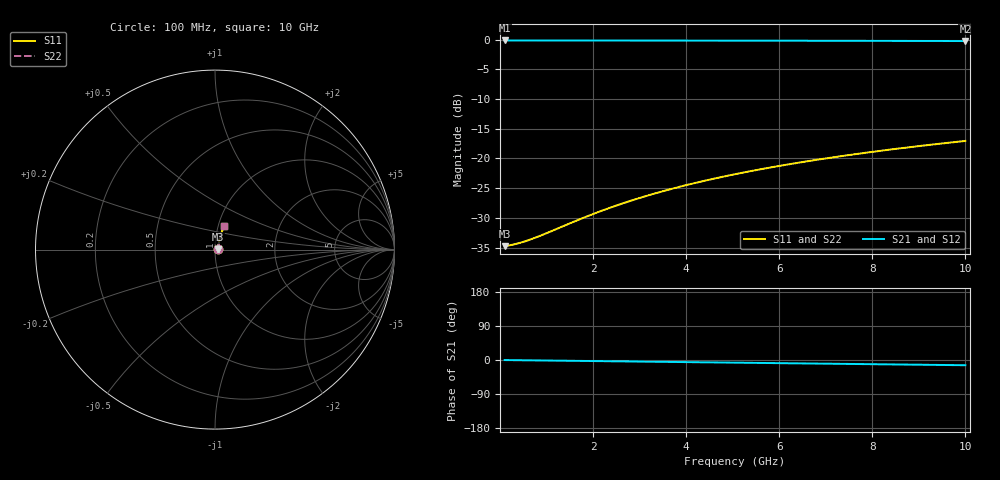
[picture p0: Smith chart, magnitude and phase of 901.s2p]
# Hz S RI R 50.00
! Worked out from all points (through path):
!   100 points, 100 MHz to 10 GHz, reference 50 ohm
!   highest |S21| = -0.16 dB at 100 MHz (marker M1); lowest = -0.3 dB at 10 GHz (marker M2)
!   group delay of S21, straight-line fit = 3.84 ps
!   lowest |S11| = -34.8 dB at 100 MHz (marker M3), VSWR 1.04, Z = 51.9 + j0.142 ohm
!   |S11| at or under -10 dB: start of sweep to end of sweep
!   |S22| runs from -34.8 to -17.1 dB; largest |S21 - S12| = 0
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1e8  0.0182 0.00137  0.9818 -0.00238  0.9818 -0.00238  0.0182 0.00137
3e8  0.0184 0.0041  0.9816 -0.00715  0.9816 -0.00715  0.0184 0.0041
4e8  0.0185 0.00547  0.9815 -0.00953  0.9815 -0.00953  0.0185 0.00547
5e8  0.0186 0.00684  0.9814 -0.0119  0.9814 -0.0119  0.0186 0.00684
7e8  0.0188 0.00957  0.9812 -0.0167  0.9812 -0.0167  0.0188 0.00957
1e9  0.0191 0.0137  0.9809 -0.0238  0.9809 -0.0238  0.0191 0.0137
1.8e9  0.0201 0.0245  0.9798 -0.0428  0.9798 -0.0428  0.0201 0.0245
2.2e9  0.0207 0.03  0.9791 -0.0523  0.9791 -0.0523  0.0207 0.03
2.6e9  0.0214 0.0354  0.9782 -0.0617  0.9782 -0.0617  0.0214 0.0354
3e9  0.0222 0.0408  0.9773 -0.0712  0.9773 -0.0712  0.0222 0.0408
3.4e9  0.0231 0.0462  0.9763 -0.0806  0.9763 -0.0806  0.0231 0.0462
3.8e9  0.0241 0.0515  0.9751 -0.09  0.9751 -0.09  0.0241 0.0515
4.2e9  0.0252 0.0568  0.9738 -0.0994  0.9738 -0.0994  0.0252 0.0568
4.6e9  0.0264 0.0621  0.9724 -0.1088  0.9724 -0.1088  0.0264 0.0621
5.1e9  0.0281 0.0687  0.9705 -0.1205  0.9705 -0.1205  0.0281 0.0687
5.5e9  0.0295 0.074  0.9689 -0.1298  0.9689 -0.1298  0.0295 0.074
5.9e9  0.031 0.0792  0.9671 -0.139  0.9671 -0.139  0.031 0.0792
6.7e9  0.0344 0.0895  0.9632 -0.1574  0.9632 -0.1574  0.0344 0.0895
7.5e9  0.0381 0.0996  0.9589 -0.1757  0.9589 -0.1757  0.0381 0.0996
8.4e9  0.0428 0.1108  0.9535 -0.1961  0.9535 -0.1961  0.0428 0.1108
9.2e9  0.0473 0.1206  0.9482 -0.214  0.9482 -0.214  0.0473 0.1206
1e10  0.0522 0.1301  0.9425 -0.2316  0.9425 -0.2316  0.0522 0.1301
